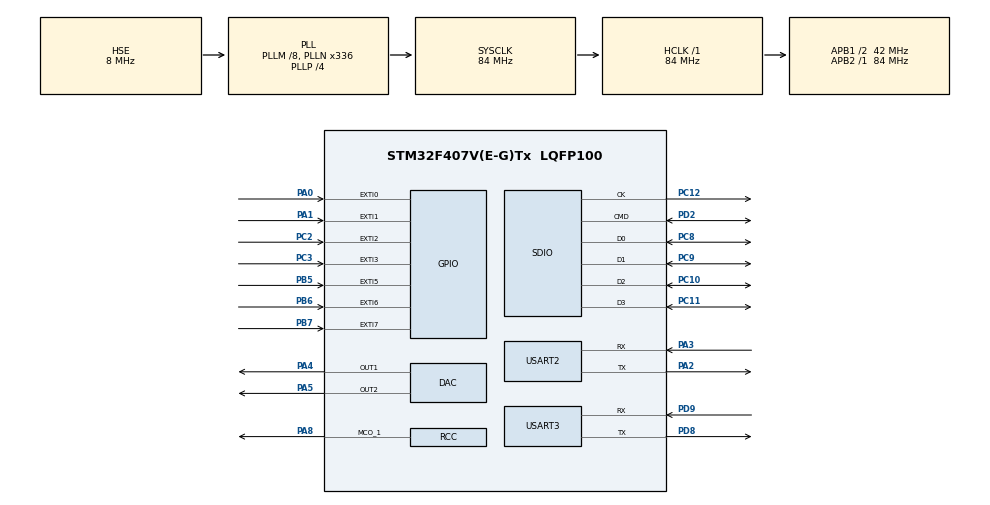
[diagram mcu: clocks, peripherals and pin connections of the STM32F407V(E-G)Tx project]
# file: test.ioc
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DAC.DAC_Trigger=DAC_TRIGGER_T6_TRGO
DAC.DAC_Trigger2=DAC_TRIGGER_T6_TRGO
Dma.DAC1.0.Direction=DMA_MEMORY_TO_PERIPH
Dma.DAC1.0.FIFOMode=DMA_FIFOMODE_DISABLE
Dma.DAC1.0.Instance=DMA1_Stream5
Dma.DAC1.0.MemDataAlignment=DMA_MDATAALIGN_WORD
Dma.DAC1.0.MemInc=DMA_MINC_ENABLE
Dma.DAC1.0.Mode=DMA_CIRCULAR
Dma.DAC1.0.PeriphDataAlignment=DMA_PDATAALIGN_WORD
Dma.DAC1.0.PeriphInc=DMA_PINC_DISABLE
Dma.DAC1.0.Priority=DMA_PRIORITY_HIGH
Dma.Request0=DAC1
Mcu.Family=STM32F4
Mcu.Name=STM32F407V(E-G)Tx
Mcu.Package=LQFP100
NVIC.DMA1_Stream5_IRQn=true\:0\:0\:false\:false\:true\:false\:true\:true
NVIC.PriorityGroup=NVIC_PRIORITYGROUP_4
NVIC.RCC_IRQn=true\:0\:0\:false\:false\:true\:true\:false\:true
NVIC.TIM6_DAC_IRQn=true\:0\:0\:false\:false\:true\:true\:true\:true
NVIC.USART2_IRQn=true\:0\:0\:false\:false\:true\:true\:true\:true
NVIC.USART3_IRQn=true\:0\:0\:false\:false\:true\:true\:true\:true
PA0-WKUP.GPIO_PuPd=GPIO_PULLDOWN
PA0-WKUP.Signal=GPXTI0
PA1.GPIO_PuPd=GPIO_PULLDOWN
PA1.Signal=GPXTI1
PA13.Mode=Serial_Wire
PA13.Signal=SYS_JTMS-SWDIO
PA14.Mode=Serial_Wire
PA14.Signal=SYS_JTCK-SWCLK
PA2.GPIO_PuPd=GPIO_PULLUP
PA2.Mode=Asynchronous
PA2.Signal=USART2_TX
PA3.GPIO_PuPd=GPIO_PULLUP
PA3.Mode=Asynchronous
PA3.Signal=USART2_RX
PA4.GPIO_PuPd=GPIO_NOPULL
PA4.Signal=COMP_DAC1_group
PA5.GPIO_PuPd=GPIO_NOPULL
PA5.Signal=COMP_DAC2_group
PA8.Mode=Clock-out-1
PA8.Signal=RCC_MCO_1
PB5.GPIO_PuPd=GPIO_PULLDOWN
PB5.Signal=GPXTI5
PB6.GPIO_PuPd=GPIO_PULLDOWN
PB6.Signal=GPXTI6
PB7.GPIO_PuPd=GPIO_PULLDOWN
PB7.Signal=GPXTI7
PC10.Mode=SD_4_bits_Wide_bus
PC10.Signal=SDIO_D2
PC11.Mode=SD_4_bits_Wide_bus
PC11.Signal=SDIO_D3
PC12.Mode=SD_4_bits_Wide_bus
PC12.Signal=SDIO_CK
PC2.GPIO_PuPd=GPIO_PULLDOWN
PC2.Signal=GPXTI2
PC3.GPIO_PuPd=GPIO_PULLDOWN
PC3.Signal=GPXTI3
PC8.Mode=SD_4_bits_Wide_bus
PC8.Signal=SDIO_D0
PC9.Mode=SD_4_bits_Wide_bus
PC9.Signal=SDIO_D1
PD2.Mode=SD_4_bits_Wide_bus
PD2.Signal=SDIO_CMD
PD8.GPIO_PuPd=GPIO_PULLDOWN
PD8.Mode=Asynchronous
PD8.Signal=USART3_TX
PD9.GPIO_PuPd=GPIO_PULLUP
PD9.Mode=Asynchronous
PD9.Signal=USART3_RX
PH0-OSC_IN.Mode=HSE-External-Oscillator
PH0-OSC_IN.Signal=RCC_OSC_IN
PH1-OSC_OUT.Mode=HSE-External-Oscillator
PH1-OSC_OUT.Signal=RCC_OSC_OUT
ProjectManager.HeapSize=0x200
ProjectManager.StackSize=0x400
ProjectManager.TargetToolchain=STM32CubeIDE
RCC.48MHZClocksFreq_Value=48000000
RCC.AHBFreq_Value=84000000
RCC.APB1CLKDivider=RCC_HCLK_DIV2
RCC.APB1Freq_Value=42000000
RCC.APB1TimFreq_Value=84000000
RCC.APB2Freq_Value=84000000
RCC.APB2TimFreq_Value=84000000
RCC.CortexFreq_Value=84000000
RCC.HCLKFreq_Value=84000000
RCC.HSE_VALUE=8000000
RCC.HSI_VALUE=16000000
RCC.LSE_VALUE=32768
RCC.PLLM=8
RCC.PLLN=336
RCC.PLLP=RCC_PLLP_DIV4
RCC.PLLQ=7
RCC.PLLSourceVirtual=RCC_PLLSOURCE_HSE
RCC.SYSCLKFreq_VALUE=84000000
RCC.SYSCLKSource=RCC_SYSCLKSOURCE_PLLCLK
RCC.VCOOutputFreq_Value=336000000
SH.COMP_DAC1_group.0=DAC_OUT1,DAC_OUT1
SH.COMP_DAC2_group.0=DAC_OUT2,DAC_OUT2
TIM6.Period=624
TIM6.TIM_MasterOutputTrigger=TIM_TRGO_UPDATE
USART2.VirtualMode=VM_ASYNC
USART3.VirtualMode=VM_ASYNC
VP_FATFS_VS_SDIO.Mode=SDIO
VP_TIM6_VS_ClockSourceINT.Mode=Enable_Timer
board=custom

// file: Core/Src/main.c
//YEFTA SARON NADA 1

/* USER CODE BEGIN Header */
/**
  ******************************************************************************
  * @file           : main.c
  * @brief          : Bell sound synthesis using DAC + DMA + TIM6 trigger (FM synthesis)
  ******************************************************************************
  */
/* USER CODE END Header */
#include "main.h"
#include "fatfs.h"
#include <math.h>
#include <string.h>

#define PI 3.14159265f
// #define SINE_RES 8192               // <-- Ganti baris ini
// #define HALF_RES (SINE_RES / 2)     // <-- Ganti baris ini
#define SINE_RES 2048                   // <-- Menjadi ini
#define HALF_RES (SINE_RES / 2)         // <-- Menjadi ini (otomatis jadi 1024)
#define LUT_SIZE 1024

DAC_HandleTypeDef hdac;
DMA_HandleTypeDef hdma_dac1;

SD_HandleTypeDef hsd;

TIM_HandleTypeDef htim6;

UART_HandleTypeDef huart2;
UART_HandleTypeDef huart3;

/* Audio buffer (double-buffering DMA mode) */
uint32_t Wave_LUT[SINE_RES];
float sineLUT[LUT_SIZE];

/* === PARAMETER DINAMIS (SCALED) === */
// Ini akan dihitung di Start_Bell_Playback berdasarkan synth_fc
// untuk mencegah suara "pecah" di nada tinggi.
static float s_Qres;             // Q resonansi yang aman
static float s_secondaryRatio;   // Rasio modulator kedua yang aman
static int   s_addPartials;      // Jumlah partials yang aman
static float s_pre_tanh_gain;    // Gain sebelum distorsi yang aman
/* === AKHIR PARAMETER DINAMIS === */

/* === OPTIMIZATION VARS === */
/* Variabel state untuk recursive envelopes */
static float r_env_attack; // (1.0 - env)
static float r_env_decay;
static float r_mod_index;

/* Multiplier per-sample (dihitung sekali) */
static float r_env_attack_mul;
static float r_env_decay_mul;
static float r_mod_index_mul;

/* Koefisien Filter IIR (dihitung sekali) */
static float iir_b0, iir_b1, iir_b2, iir_a1, iir_a2;

/* Amplitudo Partials (dihitung sekali) */
#define MAX_PARTIALS 10 // Pastikan ini = synth_addPartials
static float partial_amps[MAX_PARTIALS + 1];
/* === END OPTIMIZATION VARS === */

/* Playback control */
volatile uint32_t playIndex = 0;
volatile uint32_t totalSamples = 0;
volatile uint8_t playing = 0;

/* FM synthesis parameters */
float synth_fc = 593.67f;    // carrier frequency
float synth_fm = 982.0f;    // modulator frequency
float synth_Io = 0.636f;      // modulation index at t=0
float synth_tau = 2.5f;     // decay constant
float synth_fs = 22050.0f;  // sample rate
float synth_dur = 3.0f;     // duration
float synth_attack = 150.0f;
float synth_decay = 2.5f;
//float synth_noiseLevel = 10.0f;
//float synth_noiseDur = 0.005f; // 5 ms
//int   synth_addPartials = 10;
//float synth_partialDecay = 1.4f;
//float synth_detuneStep = 0.0015f;

// TAMBAHAN YEFTA //
/* === Tambahan Parameter untuk Saron === */
float synth_attackRate = 150.0f;
float synth_decayRate = 2.5f;
float synth_secondaryRatio = 0.25f;
float synth_partialDecay = 1.4f;
float synth_detuneStep = 0.0015f;
int   synth_addPartials = 10;
float synth_noiseLevel = 0.2f;
float synth_noiseDur = 0.005f; // 5 ms
float synth_bp_bw = 0.25f;
float synth_Qres = 10.0f;

// TAMBAHAN YEFTA //

void SystemClock_Config(void);
static void MX_GPIO_Init(void);
static void MX_DMA_Init(void);
static void MX_DAC_Init(void);
static void MX_TIM6_Init(void);
static void MX_SDIO_SD_Init(void);
static void MX_USART2_UART_Init(void);
static void MX_USART3_UART_Init(void);
void Error_Handler(void);

/* === Utility Fast Math === */
void Build_SineLUT(void)
{
    for (int i = 0; i < LUT_SIZE; i++)
        sineLUT[i] = sinf(2.0f * PI * i / LUT_SIZE);
}

static inline float fast_sin(float phase)
{
    float x = phase - floorf(phase);
    int idx = (int)(x * LUT_SIZE) & (LUT_SIZE - 1);
    return sineLUT[idx];
}
static inline float fast_cos(float phase)
{
    return fast_sin(phase + 0.25f); // cos(x) = sin(x+pi/2)
}

/* USER CODE BEGIN 0 */

/* Atur parameter FM bell sound */
void Bell_SetParams(float fc, float fm, float Io, float tau, float dur, float fs)
{
    synth_fc = fc;
    synth_fm = fm;
    synth_Io = Io;
    synth_tau = tau;
    synth_dur = dur;
    synth_fs = fs;
}

/* Isi setengah buffer (DMA half) */
/* Isi setengah buffer (DMA half) */
void Fill_Buffer_Half(uint32_t half)
{
    uint32_t base = (half == 0) ? 0 : HALF_RES;

    static float y1 = 0, y2 = 0, x1 = 0, x2 = 0;
    if (playIndex == 0) {
        y1 = 0; y2 = 0; x1 = 0; x2 = 0;
    }

    static uint32_t noiseSamples = 0;
    if (noiseSamples == 0)
        noiseSamples = (uint32_t)(synth_fs * synth_noiseDur);

    for (uint32_t n = 0; n < HALF_RES; n++)
    {
        if (playIndex >= totalSamples) {
            Wave_LUT[base + n] = 2048;
            continue;
        }

        float t_norm = (float)playIndex / synth_fs;

        /* === Amplitude envelope (RECURSIVE) === */
        float envA = 1.0f - r_env_attack;
        float envD = r_env_decay;
        float ampEnv = envA * envD;

        /* === Time-varying modulation index (RECURSIVE) === */
        float I_t = r_mod_index;

        /* === Secondary FM modulator === */
        float mod_signal = fast_sin(0.3f * t_norm);
        // ❗ Gunakan s_secondaryRatio yang aman
        float mod2 = s_secondaryRatio * synth_Io *
                     fast_sin(synth_fm * 1.6f * t_norm * (1.0f + 0.0005f * mod_signal));

        /* === FM core === */
        float fmPhase = synth_fm * t_norm;
        float fcPhase = synth_fc * t_norm;
        float y_fm = fast_sin(fcPhase + (I_t * fast_sin(fmPhase) + mod2));

        /* === Additive partials === */
        float partials = 0.0f;
        // Penjaga aliasing (tetap dipertahankan)
        const float nyquist_limit = synth_fs * 0.48f;

        // ❗ Gunakan s_addPartials yang aman
        for (int p = 1; p <= s_addPartials; p++)
        {
            float detune = 1.0f + synth_detuneStep * (p - 1);

            // Penjaga Aliasing
            if ((synth_fc * p * detune) >= nyquist_limit)
            {
                break;
            }
            float amp = partial_amps[p];
            partials += amp * fast_sin(synth_fc * p * detune * t_norm);
        }

        /* === Transient noise (5 ms) === */
        float noise = 0.0f;
        if (playIndex < noiseSamples) {
            float fade = 1.0f - (float)playIndex / (float)noiseSamples;
            // ❗ Kurangi noise juga saat nada tinggi (pakai s_secondaryRatio sbg scaler)
            noise = synth_noiseLevel * (s_secondaryRatio / synth_secondaryRatio) * fade * ((rand() % 2000) / 1000.0f - 1.0f);
        }

        /* === Combine components === */
        float y = ampEnv * (0.8f * y_fm + 0.5f * partials) + noise;

        /* === Simple resonant filter (IIR) (PRE-CALCULATED) === */
        float y_filt = (iir_b0*y) + (iir_b1*x1) + (iir_b2*x2) - (iir_a1*y1) - (iir_a2*y2);

        x2 = x1; x1 = y;
        y2 = y1; y1 = y_filt;

        /* === Output scaling === */
        // ❗ Gunakan s_pre_tanh_gain yang aman
        float out = tanhf(s_pre_tanh_gain * y_filt);
        uint32_t dacVal = (uint32_t)((out * 0.5f + 0.5f) * 4095.0f);

        out *= 0.85f;
        Wave_LUT[base + n] = dacVal;

        /* === Update state untuk sample berikutnya === */
        r_env_attack *= r_env_attack_mul;
        r_env_decay  *= r_env_decay_mul;
        r_mod_index  *= r_mod_index_mul;

        playIndex++;
    }
}

/* Mulai playback bell sound */
/* Mulai playback bell sound */
void Start_Bell_Playback(void)
{
    if (playing) return;

    /* =================================================== */
    /* === 1. ATUR PARAMETER DASAR NADA === */
    /* =================================================== */
    // ❗ GANTIPARAMETER DI SINI UNTUK TES (Fc, Fm, Io)
    //
    // Data Anda:
    // N1: 593.67, 982.00, 0.639
    // N2: 639.67, 281.67, 0.611
    // N3: 698.67, 288.00, 0.607
    // N4: 826.00, 201.00, 0.546
    // N5: 885.67, 67.33,  0.638
    // N6: 953.00, 154.00, 0.603
    // N7: 1051.67, 102.33, 0.626

    Bell_SetParams(
        // INI CONTOH NADA 7 (yang pecah)
        593.67f,  // fc: (Fc) carrier frequency
        982.00f,   // fm: (Fm) modulator frequency
        0.639f,    // Io: (Ic) modulation index
        2.5f,      // tau: (Asumsi tetap)
        3.0f,      // dur: (Asumsi tetap)
        22050.0f   // fs:  (Asumsi tetap)
    );

    totalSamples = (uint32_t)(synth_fs * synth_dur);
    if (totalSamples == 0) totalSamples = 1;

    /* =================================================== */
    /* === 2. KALKULASI PARAMETER DINAMIS (PERBAIKAN) === */
    /* =================================================== */
    // Ini adalah kunci perbaikan "suara pecah".
    // Kita "menenangkan" sintesis untuk frekuensi tinggi (Fc).

    // Tentukan "faktor frekuensi tinggi" (hf_factor)
    // 0.0 = nada rendah (aman)
    // 1.0 = nada tinggi (berbahaya)
    const float low_fc = 500.0f;  // Batas bawah aman
    const float high_fc = 900.0f; // Batas atas (di atas Nada 7)

    // Hitung interpolasi linear
    float hf_factor = (synth_fc - low_fc) / (high_fc - low_fc);
    if (hf_factor < 0.0f) hf_factor = 0.0f;
    if (hf_factor > 1.0f) hf_factor = 1.0f;

    // Sekarang gunakan hf_factor untuk menskalakan parameter "berbahaya"
    // Semakin tinggi Fc (hf_factor -> 1.0), semakin KECIL nilainya.

    // 1. Q Factor (Resonansi Filter):
    //    Interpolasi dari Q=10 (setelan lama) ke Q=2 (sangat aman)
    s_Qres = (synth_Qres * (1.0f - hf_factor)) + (1.5f * hf_factor);
    if (s_Qres < 2.0f) s_Qres = 2.0f;

    // 2. Partials (Jumlah):
    //    Interpolasi dari 10 partials (lama) ke 3 partials (aman)
    s_addPartials = (int)((synth_addPartials * (1.0f - hf_factor)) + (2.0f * hf_factor));

    // 3. Secondary Modulator (Ratio):
    //    Interpolasi dari rasio lama (0.25) ke 0.0 (mati)
    s_secondaryRatio = synth_secondaryRatio * (1.0f - hf_factor);

    // 4. Pre-tanh gain (Distorsi):
    //    Interpolasi dari 1.05 (agresif) ke 0.7 (aman)
    s_pre_tanh_gain = (1.0f * (1.0f - hf_factor)) + (0.6f * hf_factor);

    /* =================================================== */
    /* === 3. PRE-CALCULATE RECURSIVE ENVELOPES === */
    /* =================================================== */
    r_env_attack_mul = expf(-synth_attackRate / synth_fs);
    r_env_decay_mul  = expf(-synth_decayRate / synth_fs);
    r_mod_index_mul  = expf(-2.0f / synth_fs); // Sesuai expf(-2.0 * t)

    r_env_attack = 1.0f;
    r_env_decay  = 1.0f;
    r_mod_index  = synth_Io;
    r_mod_index *= (1.0f - 0.4f * hf_factor);

    /* =================================================== */
    /* === 4. PRE-CALCULATE IIR FILTER COEFFICIENTS === */
    /* =================================================== */
    // ❗ Gunakan s_Qres yang sudah aman (scaled)
    float w0 = synth_fc / (synth_fs / 2.0f);
    float alpha = sinf(PI * w0) / (2.0f * s_Qres); // 👈 PERUBAHAN DI SINI
    float b0_raw = alpha;
    float b1_raw = 0.0f;
    float b2_raw = -alpha;
    float a0_raw = 1.0f + alpha;
    float a1_raw = -2.0f * cosf(PI * w0);
    float a2_raw = 1.0f - alpha;

    iir_b0 = b0_raw / a0_raw;
    iir_b1 = b1_raw / a0_raw;
    iir_b2 = b2_raw / a0_raw;
    iir_a1 = a1_raw / a0_raw;
    iir_a2 = a2_raw / a0_raw;

    /* =================================================== */
    /* === 5. PRE-CALCULATE PARTIAL AMPLITUDES === */
    /* =================================================== */
    // ❗ Gunakan s_addPartials yang sudah aman (scaled)
    for (int p = 1; p <= s_addPartials; p++) // 👈 PERUBAHAN DI SINI
    {
        partial_amps[p] = expf(-synth_partialDecay * (p - 1));
    }

    playIndex = 0;
    playing = 1;

    Fill_Buffer_Half(0);

    HAL_DAC_Start_DMA(&hdac, DAC_CHANNEL_1, (uint32_t*)Wave_LUT, SINE_RES, DAC_ALIGN_12B_R);
    HAL_TIM_Base_Start(&htim6);

    Fill_Buffer_Half(1);
}

/* Stop playback */
void Stop_Bell_Playback(void)
{
    if (!playing) return;
    HAL_TIM_Base_Stop(&htim6);
    HAL_DAC_Stop_DMA(&hdac, DAC_CHANNEL_1);
    playing = 0;
}

/* Callback DMA half complete */
void HAL_DAC_ConvHalfCpltCallbackCh1(DAC_HandleTypeDef *hdac_ptr)
{
    (void)hdac_ptr;
    if (playing)
        Fill_Buffer_Half(0);
}

/* Callback DMA full complete */
void HAL_DAC_ConvCpltCallbackCh1(DAC_HandleTypeDef *hdac_ptr)
{
    (void)hdac_ptr;
    if (playing) {
        Fill_Buffer_Half(1);
        if (playIndex >= totalSamples)
            Stop_Bell_Playback();
    }
}

/* USER CODE END 0 */

int main(void)
{

  /* MCU Configuration--------------------------------------------------------*/

  /* Reset of all peripherals, Initializes the Flash interface and the Systick. */
  HAL_Init();

  /* Configure the system clock */
  SystemClock_Config();

  /* Initialize all configured peripherals */
  MX_GPIO_Init();
  MX_DMA_Init();
  MX_DAC_Init();
  MX_TIM6_Init();
  MX_SDIO_SD_Init();
  MX_USART2_UART_Init();
  MX_USART3_UART_Init();
  MX_FATFS_Init();

  Build_SineLUT();  // 🔹 Precompute lookup table untuk cepat

  /* Infinite loop */
  /* USER CODE BEGIN WHILE */
  while (1)
  {  /* Tombol PA0 untuk trigger bell */
      if (HAL_GPIO_ReadPin(GPIOA, GPIO_PIN_0) == GPIO_PIN_SET)
      {
          HAL_Delay(0);
          if (HAL_GPIO_ReadPin(GPIOA, GPIO_PIN_0) == GPIO_PIN_SET)
          {
              Start_Bell_Playback();
              while (HAL_GPIO_ReadPin(GPIOA, GPIO_PIN_0) == GPIO_PIN_SET)
                  HAL_Delay(0);
          }
      }

    /* USER CODE END WHILE */

  }
}

void SystemClock_Config(void)
{
  RCC_OscInitTypeDef RCC_OscInitStruct = {0};
  RCC_ClkInitTypeDef RCC_ClkInitStruct = {0};

  /** Configure the main internal regulator output voltage
  */
  __HAL_RCC_PWR_CLK_ENABLE();
  __HAL_PWR_VOLTAGESCALING_CONFIG(PWR_REGULATOR_VOLTAGE_SCALE1);

  /** Initializes the RCC Oscillators according to the specified parameters
  * in the RCC_OscInitTypeDef structure.
  */
  RCC_OscInitStruct.OscillatorType = RCC_OSCILLATORTYPE_HSI|RCC_OSCILLATORTYPE_HSE;
  RCC_OscInitStruct.HSEState = RCC_HSE_ON;
  RCC_OscInitStruct.HSIState = RCC_HSI_ON;
  RCC_OscInitStruct.HSICalibrationValue = RCC_HSICALIBRATION_DEFAULT;
  RCC_OscInitStruct.PLL.PLLState = RCC_PLL_ON;
  RCC_OscInitStruct.PLL.PLLSource = RCC_PLLSOURCE_HSE;
  RCC_OscInitStruct.PLL.PLLM = 8;
  RCC_OscInitStruct.PLL.PLLN = 336;
  RCC_OscInitStruct.PLL.PLLP = RCC_PLLP_DIV4;
  RCC_OscInitStruct.PLL.PLLQ = 4;
  if (HAL_RCC_OscConfig(&RCC_OscInitStruct) != HAL_OK)
  {
    Error_Handler();
  }

  /** Initializes the CPU, AHB and APB buses clocks
  */
  RCC_ClkInitStruct.ClockType = RCC_CLOCKTYPE_HCLK|RCC_CLOCKTYPE_SYSCLK
                              |RCC_CLOCKTYPE_PCLK1|RCC_CLOCKTYPE_PCLK2;
  RCC_ClkInitStruct.SYSCLKSource = RCC_SYSCLKSOURCE_PLLCLK;
  RCC_ClkInitStruct.AHBCLKDivider = RCC_SYSCLK_DIV1;
  RCC_ClkInitStruct.APB1CLKDivider = RCC_HCLK_DIV2;
  RCC_ClkInitStruct.APB2CLKDivider = RCC_HCLK_DIV1;

  if (HAL_RCC_ClockConfig(&RCC_ClkInitStruct, FLASH_LATENCY_2) != HAL_OK)
  {
    Error_Handler();
  }
  HAL_RCC_MCOConfig(RCC_MCO1, RCC_MCO1SOURCE_HSI, RCC_MCODIV_1);
}

static void MX_DAC_Init(void)
{

  DAC_ChannelConfTypeDef sConfig = {0};

  /** DAC Initialization
  */
  hdac.Instance = DAC;
  if (HAL_DAC_Init(&hdac) != HAL_OK)
  {
    Error_Handler();
  }

  /** DAC channel OUT1 config
  */
  sConfig.DAC_Trigger = DAC_TRIGGER_T6_TRGO;
  sConfig.DAC_OutputBuffer = DAC_OUTPUTBUFFER_ENABLE;
  if (HAL_DAC_ConfigChannel(&hdac, &sConfig, DAC_CHANNEL_1) != HAL_OK)
  {
    Error_Handler();
  }

  /** DAC channel OUT2 config
  */
  if (HAL_DAC_ConfigChannel(&hdac, &sConfig, DAC_CHANNEL_2) != HAL_OK)
  {
    Error_Handler();
  }

}

static void MX_SDIO_SD_Init(void)
{

  hsd.Instance = SDIO;
  hsd.Init.ClockEdge = SDIO_CLOCK_EDGE_RISING;
  hsd.Init.ClockBypass = SDIO_CLOCK_BYPASS_DISABLE;
  hsd.Init.ClockPowerSave = SDIO_CLOCK_POWER_SAVE_DISABLE;
  hsd.Init.BusWide = SDIO_BUS_WIDE_4B;
  hsd.Init.HardwareFlowControl = SDIO_HARDWARE_FLOW_CONTROL_DISABLE;
  hsd.Init.ClockDiv = 0;

}

static void MX_TIM6_Init(void)
{

  TIM_MasterConfigTypeDef sMasterConfig = {0};

  htim6.Instance = TIM6;
  htim6.Init.Prescaler = 0;
  htim6.Init.CounterMode = TIM_COUNTERMODE_UP;
  htim6.Init.Period = 3809;
  htim6.Init.AutoReloadPreload = TIM_AUTORELOAD_PRELOAD_DISABLE;
  if (HAL_TIM_Base_Init(&htim6) != HAL_OK)
  {
    Error_Handler();
  }
  sMasterConfig.MasterOutputTrigger = TIM_TRGO_UPDATE;
  sMasterConfig.MasterSlaveMode = TIM_MASTERSLAVEMODE_DISABLE;
  if (HAL_TIMEx_MasterConfigSynchronization(&htim6, &sMasterConfig) != HAL_OK)
  {
    Error_Handler();
  }

}

static void MX_USART2_UART_Init(void)
{

  huart2.Instance = USART2;
  huart2.Init.BaudRate = 115200;
  huart2.Init.WordLength = UART_WORDLENGTH_8B;
  huart2.Init.StopBits = UART_STOPBITS_1;
  huart2.Init.Parity = UART_PARITY_NONE;
  huart2.Init.Mode = UART_MODE_TX_RX;
  huart2.Init.HwFlowCtl = UART_HWCONTROL_NONE;
  huart2.Init.OverSampling = UART_OVERSAMPLING_16;
  if (HAL_UART_Init(&huart2) != HAL_OK)
  {
    Error_Handler();
  }

}

static void MX_USART3_UART_Init(void)
{

  huart3.Instance = USART3;
  huart3.Init.BaudRate = 115200;
  huart3.Init.WordLength = UART_WORDLENGTH_8B;
  huart3.Init.StopBits = UART_STOPBITS_1;
  huart3.Init.Parity = UART_PARITY_NONE;
  huart3.Init.Mode = UART_MODE_TX_RX;
  huart3.Init.HwFlowCtl = UART_HWCONTROL_NONE;
  huart3.Init.OverSampling = UART_OVERSAMPLING_16;
  if (HAL_UART_Init(&huart3) != HAL_OK)
  {
    Error_Handler();
  }

}

static void MX_DMA_Init(void)
{

  /* DMA controller clock enable */
  __HAL_RCC_DMA1_CLK_ENABLE();

  /* DMA interrupt init */
  /* DMA1_Stream5_IRQn interrupt configuration */
  HAL_NVIC_SetPriority(DMA1_Stream5_IRQn, 0, 0);
  HAL_NVIC_EnableIRQ(DMA1_Stream5_IRQn);

}

static void MX_GPIO_Init(void)
{
  GPIO_InitTypeDef GPIO_InitStruct = {0};

  /* GPIO Ports Clock Enable */
  __HAL_RCC_GPIOH_CLK_ENABLE();
  __HAL_RCC_GPIOC_CLK_ENABLE();
  __HAL_RCC_GPIOA_CLK_ENABLE();
  __HAL_RCC_GPIOD_CLK_ENABLE();
  __HAL_RCC_GPIOB_CLK_ENABLE();

  /*Configure GPIO pins : PC2 PC3 */
  GPIO_InitStruct.Pin = GPIO_PIN_2|GPIO_PIN_3;
  GPIO_InitStruct.Mode = GPIO_MODE_IT_RISING;
  GPIO_InitStruct.Pull = GPIO_PULLDOWN;
  HAL_GPIO_Init(GPIOC, &GPIO_InitStruct);

  /*Configure GPIO pins : PA0 PA1 */
  GPIO_InitStruct.Pin = GPIO_PIN_0|GPIO_PIN_1;
  GPIO_InitStruct.Mode = GPIO_MODE_IT_RISING;
  GPIO_InitStruct.Pull = GPIO_PULLDOWN;
  HAL_GPIO_Init(GPIOA, &GPIO_InitStruct);

  /*Configure GPIO pin : PA8 */
  GPIO_InitStruct.Pin = GPIO_PIN_8;
  GPIO_InitStruct.Mode = GPIO_MODE_AF_PP;
  GPIO_InitStruct.Pull = GPIO_NOPULL;
  GPIO_InitStruct.Speed = GPIO_SPEED_FREQ_LOW;
  GPIO_InitStruct.Alternate = GPIO_AF0_MCO;
  HAL_GPIO_Init(GPIOA, &GPIO_InitStruct);

  /*Configure GPIO pins : PB5 PB6 PB7 */
  GPIO_InitStruct.Pin = GPIO_PIN_5|GPIO_PIN_6|GPIO_PIN_7;
  GPIO_InitStruct.Mode = GPIO_MODE_IT_RISING;
  GPIO_InitStruct.Pull = GPIO_PULLDOWN;
  HAL_GPIO_Init(GPIOB, &GPIO_InitStruct);

}

void Error_Handler(void)
{
  __disable_irq();
  while (1)
  {
  }
}
